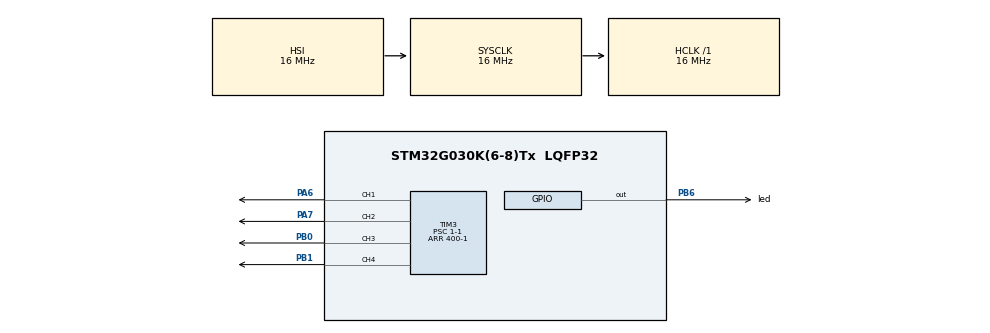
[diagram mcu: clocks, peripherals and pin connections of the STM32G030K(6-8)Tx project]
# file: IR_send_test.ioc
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Mcu.Family=STM32G0
Mcu.Name=STM32G030K(6-8)Tx
Mcu.Package=LQFP32
NVIC.TIM1_BRK_UP_TRG_COM_IRQn=true\:0\:0\:false\:false\:true\:true\:true\:true
PA6.Signal=S_TIM3_CH1
PA7.Signal=S_TIM3_CH2
PB0.Signal=S_TIM3_CH3
PB1.Signal=S_TIM3_CH4
PB6.GPIO_Label=led
PB6.Signal=GPIO_Output
ProjectManager.HeapSize=0x200
ProjectManager.StackSize=0x400
ProjectManager.TargetToolchain=STM32CubeIDE
RCC.AHBFreq_Value=16000000
RCC.CortexFreq_Value=16000000
RCC.EXTERNAL_CLOCK_VALUE=12288000
RCC.HCLKFreq_Value=16000000
RCC.HSE_VALUE=8000000
RCC.HSI_VALUE=16000000
RCC.LSE_VALUE=32768
RCC.SYSCLKFreq_VALUE=16000000
RCC.VCOOutputFreq_Value=128000000
SH.S_TIM3_CH1.0=TIM3_CH1,PWM Generation1 CH1
SH.S_TIM3_CH2.0=TIM3_CH2,PWM Generation2 CH2
SH.S_TIM3_CH3.0=TIM3_CH3,PWM Generation3 CH3
SH.S_TIM3_CH4.0=TIM3_CH4,PWM Generation4 CH4
TIM1.AutoReloadPreload=TIM_AUTORELOAD_PRELOAD_ENABLE
TIM1.Period=256-1
TIM1.Prescaler=1600-1
TIM3.Channel-PWM\ Generation1\ CH1=TIM_CHANNEL_1
TIM3.Channel-PWM\ Generation2\ CH2=TIM_CHANNEL_2
TIM3.Channel-PWM\ Generation3\ CH3=TIM_CHANNEL_3
TIM3.Channel-PWM\ Generation4\ CH4=TIM_CHANNEL_4
TIM3.Period=400-1
TIM3.Prescaler=1-1
VP_TIM1_VS_ClockSourceINT.Mode=Internal
VP_TIM3_VS_ClockSourceINT.Mode=Internal
board=custom

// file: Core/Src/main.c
/* USER CODE BEGIN Header */
/**
  ******************************************************************************
  * @file           : main.c
  * @brief          : Main program body
  ******************************************************************************
  * @attention
  *
  * Copyright (c) 2024 STMicroelectronics.
  * All rights reserved.
  *
  * This software is licensed under terms that can be found in the LICENSE file
  * in the root directory of this software component.
  * If no LICENSE file comes with this software, it is provided AS-IS.
  *
  ******************************************************************************
  */
/* USER CODE END Header */
#include "main.h"

TIM_HandleTypeDef htim1;
TIM_HandleTypeDef htim3;

/* USER CODE BEGIN PV */
uint32_t tenth_of_a_millisecond = 0;
uint32_t overflow_counter = 0;

/* USER CODE END PV */

void SystemClock_Config(void);
static void MX_GPIO_Init(void);
static void MX_TIM1_Init(void);
static void MX_TIM3_Init(void);

/* USER CODE BEGIN 0 */
uint32_t time_counter(){
   return (overflow_counter << 8) + TIM1->CNT;
 }

 void HAL_TIM_PeriodElapsedCallback(TIM_HandleTypeDef *htim){
     if (htim == &htim1){
         overflow_counter++;
     }
 }

/* USER CODE END 0 */

int main(void)
{

  /* MCU Configuration--------------------------------------------------------*/

  /* Reset of all peripherals, Initializes the Flash interface and the Systick. */
  HAL_Init();

  /* Configure the system clock */
  SystemClock_Config();

  /* Initialize all configured peripherals */
  MX_GPIO_Init();
  MX_TIM1_Init();
  MX_TIM3_Init();
  /* USER CODE BEGIN 2 */
  HAL_TIM_Base_Start_IT(&htim1);
  HAL_TIM_PWM_Start(&htim3, TIM_CHANNEL_1);
  HAL_TIM_PWM_Start(&htim3, TIM_CHANNEL_2);
  HAL_TIM_PWM_Start(&htim3, TIM_CHANNEL_3);
  HAL_TIM_PWM_Start(&htim3, TIM_CHANNEL_4);

  /* USER CODE END 2 */

  /* Infinite loop */
  while (1)
  {

    /* USER CODE BEGIN 3 */
	  tenth_of_a_millisecond = time_counter();
	  if(tenth_of_a_millisecond % 10 < 2){
		  __HAL_TIM_SET_COMPARE(&htim3, TIM_CHANNEL_1, 50);
		  __HAL_TIM_SET_COMPARE(&htim3, TIM_CHANNEL_2, 0);
		  __HAL_TIM_SET_COMPARE(&htim3, TIM_CHANNEL_3, 0);
		  __HAL_TIM_SET_COMPARE(&htim3, TIM_CHANNEL_4, 0);
	  }else if(tenth_of_a_millisecond % 10 < 4){
		  __HAL_TIM_SET_COMPARE(&htim3, TIM_CHANNEL_1, 0);
		  __HAL_TIM_SET_COMPARE(&htim3, TIM_CHANNEL_2, 50);
		  __HAL_TIM_SET_COMPARE(&htim3, TIM_CHANNEL_3, 0);
		  __HAL_TIM_SET_COMPARE(&htim3, TIM_CHANNEL_4, 0);
	  }else if(tenth_of_a_millisecond % 10 < 6){
		  __HAL_TIM_SET_COMPARE(&htim3, TIM_CHANNEL_1, 0);
		  __HAL_TIM_SET_COMPARE(&htim3, TIM_CHANNEL_2, 0);
		  __HAL_TIM_SET_COMPARE(&htim3, TIM_CHANNEL_3, 50);
		  __HAL_TIM_SET_COMPARE(&htim3, TIM_CHANNEL_4, 0);
	  }else if(tenth_of_a_millisecond % 10 < 8){
		  __HAL_TIM_SET_COMPARE(&htim3, TIM_CHANNEL_1, 0);
		  __HAL_TIM_SET_COMPARE(&htim3, TIM_CHANNEL_2, 0);
		  __HAL_TIM_SET_COMPARE(&htim3, TIM_CHANNEL_3, 0);
		  __HAL_TIM_SET_COMPARE(&htim3, TIM_CHANNEL_4, 50);
	  }else{
		  __HAL_TIM_SET_COMPARE(&htim3, TIM_CHANNEL_1, 0);
		  __HAL_TIM_SET_COMPARE(&htim3, TIM_CHANNEL_2, 0);
		  __HAL_TIM_SET_COMPARE(&htim3, TIM_CHANNEL_3, 0);
		  __HAL_TIM_SET_COMPARE(&htim3, TIM_CHANNEL_4, 0);
	  }

  }
  /* USER CODE END 3 */
}

void SystemClock_Config(void)
{
  RCC_OscInitTypeDef RCC_OscInitStruct = {0};
  RCC_ClkInitTypeDef RCC_ClkInitStruct = {0};

  /** Configure the main internal regulator output voltage
  */
  HAL_PWREx_ControlVoltageScaling(PWR_REGULATOR_VOLTAGE_SCALE1);

  /** Initializes the RCC Oscillators according to the specified parameters
  * in the RCC_OscInitTypeDef structure.
  */
  RCC_OscInitStruct.OscillatorType = RCC_OSCILLATORTYPE_HSI;
  RCC_OscInitStruct.HSIState = RCC_HSI_ON;
  RCC_OscInitStruct.HSIDiv = RCC_HSI_DIV1;
  RCC_OscInitStruct.HSICalibrationValue = RCC_HSICALIBRATION_DEFAULT;
  RCC_OscInitStruct.PLL.PLLState = RCC_PLL_NONE;
  if (HAL_RCC_OscConfig(&RCC_OscInitStruct) != HAL_OK)
  {
    Error_Handler();
  }

  /** Initializes the CPU, AHB and APB buses clocks
  */
  RCC_ClkInitStruct.ClockType = RCC_CLOCKTYPE_HCLK|RCC_CLOCKTYPE_SYSCLK
                              |RCC_CLOCKTYPE_PCLK1;
  RCC_ClkInitStruct.SYSCLKSource = RCC_SYSCLKSOURCE_HSI;
  RCC_ClkInitStruct.AHBCLKDivider = RCC_SYSCLK_DIV1;
  RCC_ClkInitStruct.APB1CLKDivider = RCC_HCLK_DIV1;

  if (HAL_RCC_ClockConfig(&RCC_ClkInitStruct, FLASH_LATENCY_0) != HAL_OK)
  {
    Error_Handler();
  }
}

static void MX_TIM1_Init(void)
{

  TIM_ClockConfigTypeDef sClockSourceConfig = {0};
  TIM_MasterConfigTypeDef sMasterConfig = {0};

  htim1.Instance = TIM1;
  htim1.Init.Prescaler = 1600-1;
  htim1.Init.CounterMode = TIM_COUNTERMODE_UP;
  htim1.Init.Period = 256-1;
  htim1.Init.ClockDivision = TIM_CLOCKDIVISION_DIV1;
  htim1.Init.RepetitionCounter = 0;
  htim1.Init.AutoReloadPreload = TIM_AUTORELOAD_PRELOAD_ENABLE;
  if (HAL_TIM_Base_Init(&htim1) != HAL_OK)
  {
    Error_Handler();
  }
  sClockSourceConfig.ClockSource = TIM_CLOCKSOURCE_INTERNAL;
  if (HAL_TIM_ConfigClockSource(&htim1, &sClockSourceConfig) != HAL_OK)
  {
    Error_Handler();
  }
  sMasterConfig.MasterOutputTrigger = TIM_TRGO_RESET;
  sMasterConfig.MasterOutputTrigger2 = TIM_TRGO2_RESET;
  sMasterConfig.MasterSlaveMode = TIM_MASTERSLAVEMODE_DISABLE;
  if (HAL_TIMEx_MasterConfigSynchronization(&htim1, &sMasterConfig) != HAL_OK)
  {
    Error_Handler();
  }

}

static void MX_TIM3_Init(void)
{

  TIM_ClockConfigTypeDef sClockSourceConfig = {0};
  TIM_MasterConfigTypeDef sMasterConfig = {0};
  TIM_OC_InitTypeDef sConfigOC = {0};

  htim3.Instance = TIM3;
  htim3.Init.Prescaler = 1-1;
  htim3.Init.CounterMode = TIM_COUNTERMODE_UP;
  htim3.Init.Period = 400-1;
  htim3.Init.ClockDivision = TIM_CLOCKDIVISION_DIV1;
  htim3.Init.AutoReloadPreload = TIM_AUTORELOAD_PRELOAD_DISABLE;
  if (HAL_TIM_Base_Init(&htim3) != HAL_OK)
  {
    Error_Handler();
  }
  sClockSourceConfig.ClockSource = TIM_CLOCKSOURCE_INTERNAL;
  if (HAL_TIM_ConfigClockSource(&htim3, &sClockSourceConfig) != HAL_OK)
  {
    Error_Handler();
  }
  if (HAL_TIM_PWM_Init(&htim3) != HAL_OK)
  {
    Error_Handler();
  }
  sMasterConfig.MasterOutputTrigger = TIM_TRGO_RESET;
  sMasterConfig.MasterSlaveMode = TIM_MASTERSLAVEMODE_DISABLE;
  if (HAL_TIMEx_MasterConfigSynchronization(&htim3, &sMasterConfig) != HAL_OK)
  {
    Error_Handler();
  }
  sConfigOC.OCMode = TIM_OCMODE_PWM1;
  sConfigOC.Pulse = 0;
  sConfigOC.OCPolarity = TIM_OCPOLARITY_HIGH;
  sConfigOC.OCFastMode = TIM_OCFAST_DISABLE;
  if (HAL_TIM_PWM_ConfigChannel(&htim3, &sConfigOC, TIM_CHANNEL_1) != HAL_OK)
  {
    Error_Handler();
  }
  if (HAL_TIM_PWM_ConfigChannel(&htim3, &sConfigOC, TIM_CHANNEL_2) != HAL_OK)
  {
    Error_Handler();
  }
  if (HAL_TIM_PWM_ConfigChannel(&htim3, &sConfigOC, TIM_CHANNEL_3) != HAL_OK)
  {
    Error_Handler();
  }
  if (HAL_TIM_PWM_ConfigChannel(&htim3, &sConfigOC, TIM_CHANNEL_4) != HAL_OK)
  {
    Error_Handler();
  }
  HAL_TIM_MspPostInit(&htim3);

}

static void MX_GPIO_Init(void)
{
  GPIO_InitTypeDef GPIO_InitStruct = {0};

  /* GPIO Ports Clock Enable */
  __HAL_RCC_GPIOA_CLK_ENABLE();
  __HAL_RCC_GPIOB_CLK_ENABLE();

  /*Configure GPIO pin Output Level */
  HAL_GPIO_WritePin(led_GPIO_Port, led_Pin, GPIO_PIN_RESET);

  /*Configure GPIO pin : led_Pin */
  GPIO_InitStruct.Pin = led_Pin;
  GPIO_InitStruct.Mode = GPIO_MODE_OUTPUT_PP;
  GPIO_InitStruct.Pull = GPIO_NOPULL;
  GPIO_InitStruct.Speed = GPIO_SPEED_FREQ_LOW;
  HAL_GPIO_Init(led_GPIO_Port, &GPIO_InitStruct);

}

void Error_Handler(void)
{
  __disable_irq();
  while (1)
  {
  }
}
